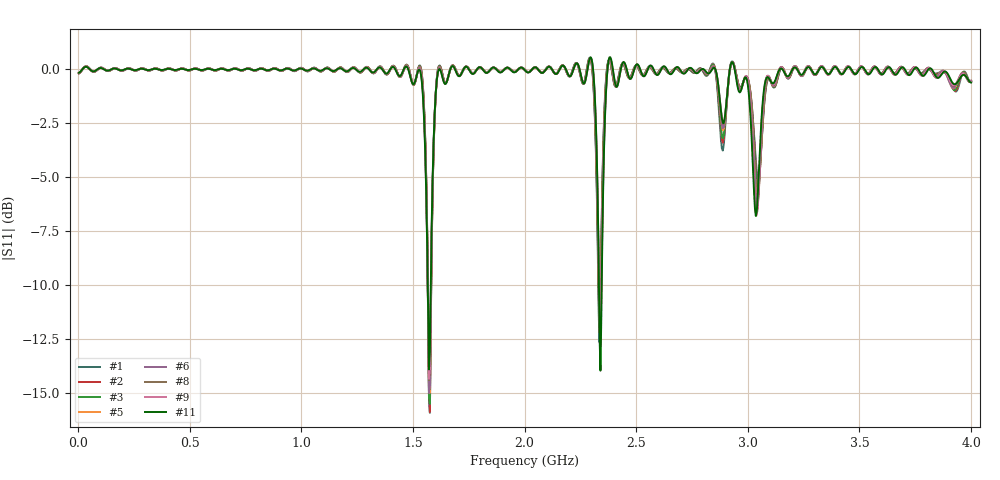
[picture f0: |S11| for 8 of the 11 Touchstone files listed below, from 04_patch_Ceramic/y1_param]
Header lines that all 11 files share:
! TOUCHSTONE file generated by CST MICROWAVE STUDIO
! Project name: AppElm_antenne_patch_Alumina.cst
! Header version: 2018
! Port assignment regex: !\s*Touchstone port\s*([0-9]+)\s*=\s*(CST MWS port|CST DS port)\s*([0-9]+|Zmin|Zmax)\s*\(\"(.*)\"\)(\s*mode\s*([0-9]+))?.*
! Touchstone port assignment:
! Touchstone port 1 = CST MWS port 1 ("")
# GHz S MA R 50
Fixed: L = 30.5, W = 41.8, e = 0.035, h = 1.6, lambda = 0.190476, ls = 90, w0 = 1.12, w1 = 0.373, ws = 90, y0 = 14
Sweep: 4 MHz to 4 GHz
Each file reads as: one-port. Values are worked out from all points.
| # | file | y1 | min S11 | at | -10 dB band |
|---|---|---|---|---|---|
| 1 | AppElm_antenne_patch_Alumina_1.s1p | 7.5 | -15.9 dB | 1.576 GHz | 15.07 MHz wide |
| 2 | AppElm_antenne_patch_Alumina_2.s1p | 8 | -15.9 dB | 1.576 GHz | 15 MHz wide |
| 3 | AppElm_antenne_patch_Alumina_3.s1p | 8.5 | -15.5 dB | 1.576 GHz | 14.98 MHz wide |
| 4 | AppElm_antenne_patch_Alumina_4.s1p | 9 | -15.3 dB | 1.572 GHz | 14.92 MHz wide |
| 5 | AppElm_antenne_patch_Alumina_5.s1p | 9.5 | -15.0 dB | 1.576 GHz | 14.8 MHz wide |
| 6 | AppElm_antenne_patch_Alumina_6.s1p | 10 | -15.0 dB | 1.572 GHz | 14.73 MHz wide |
| 7 | AppElm_antenne_patch_Alumina_7.s1p | 10.5 | -14.9 dB | 1.572 GHz | 14.6 MHz wide |
| 8 | AppElm_antenne_patch_Alumina_8.s1p | 11 | -14.4 dB | 1.572 GHz | 14.37 MHz wide |
| 9 | AppElm_antenne_patch_Alumina_9.s1p | 11.5 | -14.3 dB | 1.572 GHz | 14.17 MHz wide |
| 10 | AppElm_antenne_patch_Alumina_10.s1p | 12 | -14.2 dB | 1.572 GHz | 13.96 MHz wide |
| 11 | AppElm_antenne_patch_Alumina_11.s1p | 12.5 | -14.0 dB | 2.34 GHz | 13.68 MHz wide |
